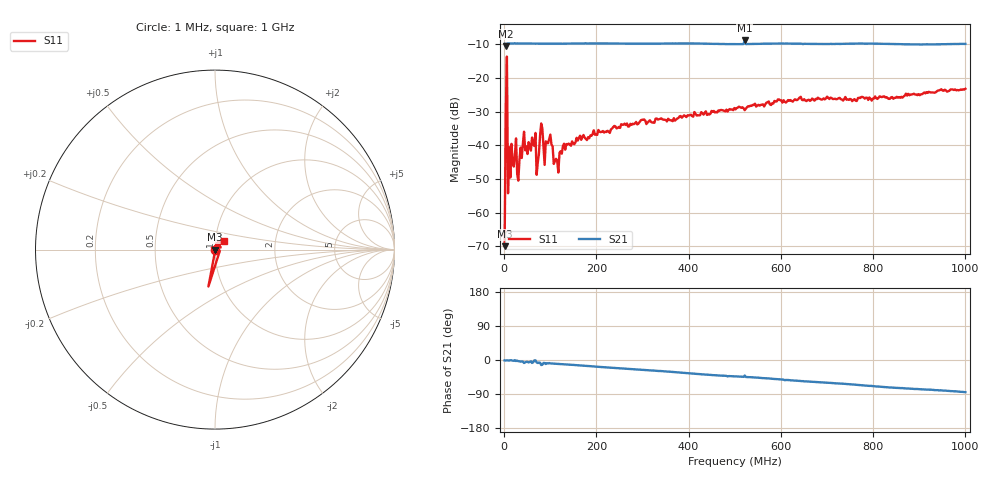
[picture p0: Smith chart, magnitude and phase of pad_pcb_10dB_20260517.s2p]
# HZ S RI R 50
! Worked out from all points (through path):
!   404 points, 1 MHz to 1 GHz, reference 50 ohm
!   highest |S21| = -8.80 dB at 521.6 MHz (marker M1); lowest = -10.5 dB at 3.479 MHz (marker M2)
!   group delay of S21, straight-line fit = 235 ps
!   lowest |S11| = -70.0 dB at 1 MHz (marker M3), VSWR 1.00, Z = 50 - j0.0318 ohm
!   |S11| at or under -10 dB: start of sweep to end of sweep
!   S12 and S22 are empty: the file has one direction only
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1000000  6.28e-06 -0.000318  0.325 -0.00581  0 0  0 0
3478908  0.0266 -0.00815  0.2992 -0.00698  0 0  0 0
8436724  0.0019 0.000423  0.3262 -0.00719  0 0  0 0
1.339454e7  0.00332 -0.000181  0.3271 -0.00301  0 0  0 0
2.083126e7  0.00426 0.00231  0.3273 -0.0121  0 0  0 0
3.32258e7  0.00394 0.00475  0.3258 -0.0194  0 0  0 0
3.818362e7  0.00193 0.0062  0.3269 -0.0215  0 0  0 0
4.562034e7  -0.00512 0.00674  0.3246 -0.0353  0 0  0 0
6.29727e7  0.00181 0.0103  0.3247 -0.0339  0 0  0 0
7.040942e7  -0.00332 0.00154  0.3241 -0.0366  0 0  0 0
8.032506e7  -0.0176 0.0118  0.3166 -0.075  0 0  0 0
9.024069e7  -0.00792 0.00835  0.3195 -0.0594  0 0  0 0
1.001563e8  0.0045 0.0137  0.3212 -0.0508  0 0  0 0
1.125509e8  -1.2e-05 0.00632  0.3201 -0.0562  0 0  0 0
1.323821e8  -0.00284 0.00817  0.3193 -0.0651  0 0  0 0
1.695657e8  0.00221 0.0132  0.3167 -0.0835  0 0  0 0
3.356526e8  0.00878 0.0228  0.2844 -0.1582  0 0  0 0
5.017394e8  0.0139 0.0314  0.2328 -0.2195  0 0  0 0
5.215707e8  0.0314 0.0114  0.274 -0.2382  0 0  0 0
6.678263e8  0.0302 0.0397  0.1723 -0.2728  0 0  0 0
8.339131e8  0.0285 0.0399  0.0975 -0.3075  0 0  0 0
9.999999e8  0.0482 0.05  0.0293 -0.3213  0 0  0 0
